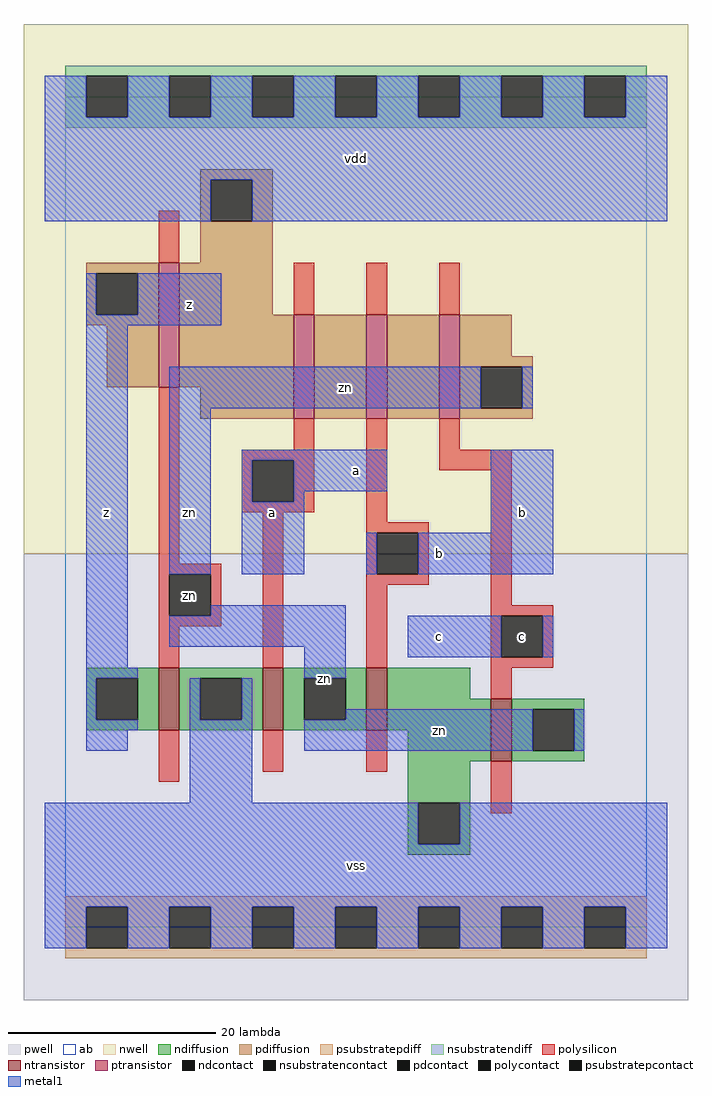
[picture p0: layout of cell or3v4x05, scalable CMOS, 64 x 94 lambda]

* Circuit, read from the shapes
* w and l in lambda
.subckt or3v4x05 a b c vdd vss z zn
M1 vss zn z vss nfet w=6 l=2
M2 zn a vss vss nfet w=6 l=2
M3 vss b zn vss nfet w=6 l=2
M4 zn c vss vss nfet w=6 l=2
M5 vdd zn z vdd pfet w=12 l=2
M6 n1 a vdd vdd pfet w=10 l=2
M7 n2 b n1 vdd pfet w=10 l=2
M8 zn c n2 vdd pfet w=10 l=2
.ends

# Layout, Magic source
magic
tech scmos
<< ab >>
rect 0 0 56 80
<< pwell >>
rect -4 -7 60 36
<< nwell >>
rect -4 36 60 87
<< polysilicon >>
rect 9 64 11 69
rect 22 59 24 64
rect 29 59 31 64
rect 36 59 38 64
rect 9 35 11 52
rect 22 46 24 49
rect 17 45 24 46
rect 17 41 18 45
rect 22 41 24 45
rect 17 40 24 41
rect 9 34 15 35
rect 9 30 10 34
rect 14 30 15 34
rect 9 29 15 30
rect 9 25 11 29
rect 19 25 21 40
rect 29 39 31 49
rect 36 46 38 49
rect 36 44 43 46
rect 29 38 35 39
rect 29 34 30 38
rect 34 34 35 38
rect 29 33 35 34
rect 29 25 31 33
rect 41 31 43 44
rect 41 30 47 31
rect 41 26 42 30
rect 46 26 47 30
rect 41 25 47 26
rect 41 22 43 25
rect 9 14 11 19
rect 19 15 21 19
rect 29 15 31 19
rect 41 11 43 16
<< ndiffusion >>
rect 2 24 9 25
rect 2 20 3 24
rect 7 20 9 24
rect 2 19 9 20
rect 11 24 19 25
rect 11 20 13 24
rect 17 20 19 24
rect 11 19 19 20
rect 21 24 29 25
rect 21 20 23 24
rect 27 20 29 24
rect 21 19 29 20
rect 31 22 39 25
rect 31 19 41 22
rect 33 16 41 19
rect 43 21 50 22
rect 43 17 45 21
rect 49 17 50 21
rect 43 16 50 17
rect 33 12 39 16
rect 33 8 34 12
rect 38 8 39 12
rect 33 7 39 8
<< pdiffusion >>
rect 13 72 20 73
rect 13 68 14 72
rect 18 68 20 72
rect 13 64 20 68
rect 2 63 9 64
rect 2 59 3 63
rect 7 59 9 63
rect 2 58 9 59
rect 4 52 9 58
rect 11 59 20 64
rect 11 52 22 59
rect 13 49 22 52
rect 24 49 29 59
rect 31 49 36 59
rect 38 55 43 59
rect 38 54 45 55
rect 38 50 40 54
rect 44 50 45 54
rect 38 49 45 50
<< metal1 >>
rect -2 78 2 82
rect 6 78 10 82
rect 14 78 18 82
rect 22 78 26 82
rect 30 78 34 82
rect 38 78 42 82
rect 46 78 50 82
rect 54 78 58 82
rect -2 72 58 78
rect -2 68 14 72
rect 18 68 58 72
rect 2 59 3 63
rect 7 59 15 63
rect 2 58 15 59
rect 2 25 6 58
rect 10 50 40 54
rect 44 50 45 54
rect 10 34 14 50
rect 17 45 31 46
rect 17 41 18 45
rect 22 42 31 45
rect 22 41 23 42
rect 17 34 23 41
rect 41 38 47 46
rect 29 34 30 38
rect 34 34 47 38
rect 14 30 27 31
rect 10 27 27 30
rect 2 24 7 25
rect 23 24 27 27
rect 33 26 42 30
rect 46 26 47 30
rect 2 20 3 24
rect 2 19 7 20
rect 12 20 13 24
rect 17 20 18 24
rect 2 17 6 19
rect 12 12 18 20
rect 27 20 45 21
rect 23 17 45 20
rect 49 17 50 21
rect -2 8 34 12
rect 38 8 58 12
rect -2 2 58 8
rect -2 -2 2 2
rect 6 -2 10 2
rect 14 -2 18 2
rect 22 -2 26 2
rect 30 -2 34 2
rect 38 -2 42 2
rect 46 -2 50 2
rect 54 -2 58 2
<< ntransistor >>
rect 9 19 11 25
rect 19 19 21 25
rect 29 19 31 25
rect 41 16 43 22
<< ptransistor >>
rect 9 52 11 64
rect 22 49 24 59
rect 29 49 31 59
rect 36 49 38 59
<< polycontact >>
rect 18 41 22 45
rect 10 30 14 34
rect 30 34 34 38
rect 42 26 46 30
<< ndcontact >>
rect 3 20 7 24
rect 13 20 17 24
rect 23 20 27 24
rect 45 17 49 21
rect 34 8 38 12
<< pdcontact >>
rect 14 68 18 72
rect 3 59 7 63
rect 40 50 44 54
<< psubstratepcontact >>
rect 2 -2 6 2
rect 10 -2 14 2
rect 18 -2 22 2
rect 26 -2 30 2
rect 34 -2 38 2
rect 42 -2 46 2
rect 50 -2 54 2
<< nsubstratencontact >>
rect 2 78 6 82
rect 10 78 14 82
rect 18 78 22 82
rect 26 78 30 82
rect 34 78 38 82
rect 42 78 46 82
rect 50 78 54 82
<< psubstratepdiff >>
rect 0 2 56 3
rect 0 -2 2 2
rect 6 -2 10 2
rect 14 -2 18 2
rect 22 -2 26 2
rect 30 -2 34 2
rect 38 -2 42 2
rect 46 -2 50 2
rect 54 -2 56 2
rect 0 -3 56 -2
<< nsubstratendiff >>
rect 0 82 56 83
rect 0 78 2 82
rect 6 78 10 82
rect 14 78 18 82
rect 22 78 26 82
rect 30 78 34 82
rect 38 78 42 82
rect 46 78 50 82
rect 54 78 56 82
rect 0 77 56 78
<< labels >>
rlabel polycontact 12 32 12 32 6 zn
rlabel metal1 4 40 4 40 6 z
rlabel metal1 25 24 25 24 6 zn
rlabel metal1 20 40 20 40 6 a
rlabel metal1 12 40 12 40 6 zn
rlabel metal1 12 60 12 60 6 z
rlabel metal1 28 6 28 6 6 vss
rlabel metal1 36 28 36 28 6 c
rlabel metal1 36 36 36 36 6 b
rlabel metal1 28 44 28 44 6 a
rlabel metal1 28 74 28 74 6 vdd
rlabel metal1 36 19 36 19 6 zn
rlabel polycontact 44 28 44 28 6 c
rlabel metal1 44 40 44 40 6 b
rlabel metal1 27 52 27 52 6 zn
<< end >>
